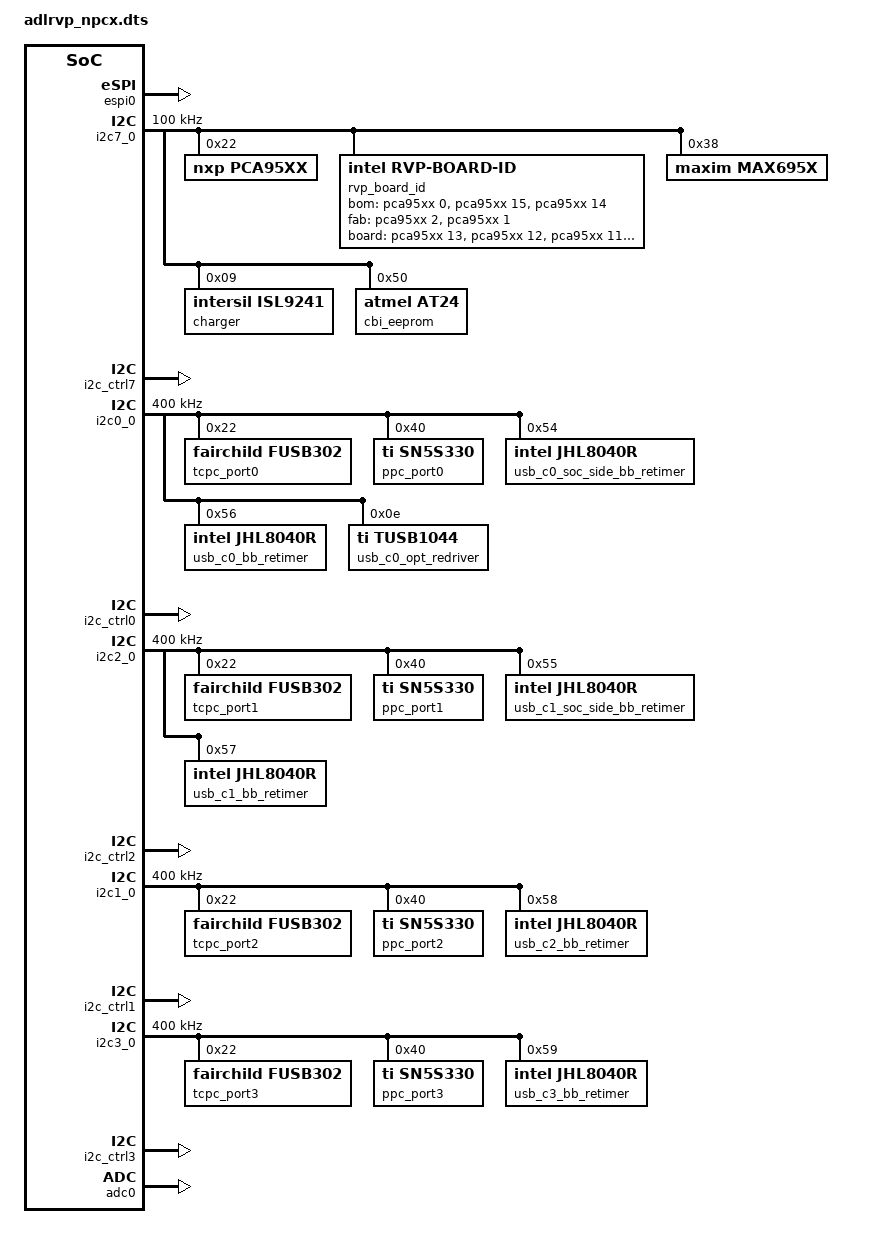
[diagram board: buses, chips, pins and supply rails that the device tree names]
/* Copyright 2022 The ChromiumOS Authors
 * Use of this source code is governed by a BSD-style license that can be
 * found in the LICENSE file.
 */

/ {
	chosen {
		cros,rtc = &mtc;
	};

	hibernate-wake-pins {
		compatible = "cros-ec,hibernate-wake-pins";
		wakeup-irqs = <
			&int_ac_present
			&int_lid_open
			&int_power_button
		>;
	};

	named-i2c-ports {
		compatible = "named-i2c-ports";

		i2c_charger: charger {
			i2c-port = <&i2c7_0>;
			enum-names = "I2C_PORT_BATTERY",
				"I2C_PORT_CHARGER",
				"I2C_PORT_EEPROM",
				"I2C_PORT_PORT80";
		};
		typec_0: typec-0 {
			i2c-port = <&i2c0_0>;
			enum-names = "I2C_PORT_TYPEC_0";
		};
		typec_1: typec-1 {
			i2c-port = <&i2c2_0>;
			enum-names = "I2C_PORT_TYPEC_1";
		};
		typec_2: typec-2 {
			i2c-port = <&i2c1_0>;
			enum-names = "I2C_PORT_TYPEC_2";
		};
		typec_3: typec-3 {
			i2c-port = <&i2c3_0>;
			enum-names = "I2C_PORT_TYPEC_3";
		};
	};

	named-adc-channels {
		compatible = "named-adc-channels";

		adc_ambient: ambient {
			enum-name = "ADC_TEMP_SENSOR_1";
			io-channels = <&adc0 3>;
		};
		adc_ddr: ddr {
			enum-name = "ADC_TEMP_SENSOR_2";
			io-channels = <&adc0 4>;
		};
		adc_skin: skin {
			enum-name = "ADC_TEMP_SENSOR_3";
			io-channels = <&adc0 2>;
		};
		adc_vr: vr {
			enum-name = "ADC_TEMP_SENSOR_4";
			io-channels = <&adc0 1>;
		};
	};

};

/* host interface */
&espi0 {
	status = "okay";
	pinctrl-0 = <&espi_lpc_gp46_47_51_52_53_54_55_57>;
	pinctrl-names = "default";
};

/* charger */
&i2c7_0 {
	status = "okay";
	clock-frequency = <I2C_BITRATE_STANDARD>;
	pinctrl-0 = <&i2c7_0_sda_scl_gpb2_b3>;
	pinctrl-names = "default";

	pca95xx: pca95xx@22 {
		compatible = "nxp,pca95xx";
		label = "PCA95XX";
		reg = <0x22>;
		gpio-controller;
		#gpio-cells = <2>;
		ngpios = <16>;
	};

	rvp_board_id: rvp-board-id {
		compatible = "intel,rvp-board-id";

		/*
		 * BOM ID [2]   : IOEX[0]
		 * BOM ID [1:0] : IOEX[15:14]
		 */
		bom-gpios = <&pca95xx 0 0>, <&pca95xx 15 0>, <&pca95xx 14 0>;

		/*
		 * FAB ID [1:0] : IOEX[2:1]
		 */
		fab-gpios = <&pca95xx 2 0>, <&pca95xx 1 0>;

		/*
		 * BOARD ID[5:0] : IOEX[13:8]
		 */
		board-gpios = <&pca95xx 13 0>, <&pca95xx 12 0>, <&pca95xx 11 0>,
			      <&pca95xx 10 0>, <&pca95xx 9 0>, <&pca95xx 8 0>;
	};

	max695x@38 {
		compatible = "maxim,max695x";
		reg = <0x38>;
	};

	charger: isl9241@9 {
		compatible = "intersil,isl9241";
		status = "okay";
		reg = <0x9>;
	};

	cbi_eeprom: eeprom@50 {
		compatible = "atmel,at24";
		reg = <0x50>;
		size = <2048>;
		pagesize = <16>;
		address-width = <8>;
		timeout = <5>;
	};
};

&i2c_ctrl7 {
	status = "okay";
};

/* typec_0 */
&i2c0_0 {
	status = "okay";
	clock-frequency = <I2C_BITRATE_FAST>;
	pinctrl-0 = <&i2c0_0_sda_scl_gpb4_b5>;
	pinctrl-names = "default";

	tcpc_port0: fusb302@22 {
		compatible = "fairchild,fusb302";
		reg = <0x22>;
		int-pin = <&usbc_tcpc_alrt_p0>;
	};

	ppc_port0: sn5s330@40 {
		compatible = "ti,sn5s330";
		status = "okay";
		reg = <0x40>;
	};

	usb_c0_soc_side_bb_retimer: jhl8040r-c0-soc-side@54 {
		compatible = "intel,jhl8040r";
		reg = <0x54>;
		reset-pin = <&usb_c0_bb_retimer_rst>;
		ls-en-pin = <&usb_c0_bb_retimer_ls_en>;
	};

	usb_c0_bb_retimer: jhl8040r-c0@56 {
		compatible = "intel,jhl8040r";
		reg = <0x56>;
		reset-pin = <&usb_c0_bb_retimer_rst>;
		ls-en-pin = <&usb_c0_bb_retimer_ls_en>;
	};

	usb_c0_opt_redriver: tusb1044_mux_c0@0e {
		compatible = "ti,tusb1044";
		status = "okay";
		reg = <0x0e>;
	};
};

&i2c_ctrl0 {
	status = "okay";
};

/* typec_1 */
&i2c2_0 {
	status = "okay";
	clock-frequency = <I2C_BITRATE_FAST>;
	pinctrl-0 = <&i2c2_0_sda_scl_gp91_92>;
	pinctrl-names = "default";

	tcpc_port1: fusb302@22 {
		compatible = "fairchild,fusb302";
		reg = <0x22>;
		int-pin = <&usbc_tcpc_alrt_p1>;
	};

	ppc_port1: sn5s330@40 {
		compatible = "ti,sn5s330";
		status = "okay";
		reg = <0x40>;
	};

	usb_c1_soc_side_bb_retimer: jhl8040r-c1-soc-side@55 {
		compatible = "intel,jhl8040r";
		reg = <0x55>;
		reset-pin = <&usb_c1_bb_retimer_rst>;
		ls-en-pin = <&usb_c1_bb_retimer_ls_en>;
	};

	usb_c1_bb_retimer: jhl8040r-c1@57 {
		compatible = "intel,jhl8040r";
		reg = <0x57>;
		reset-pin = <&usb_c1_bb_retimer_rst>;
		ls-en-pin = <&usb_c1_bb_retimer_ls_en>;
	};
};

&i2c_ctrl2 {
	status = "okay";
};

/* typec_2 */
&i2c1_0 {
	status = "okay";
	clock-frequency = <I2C_BITRATE_FAST>;
	pinctrl-0 = <&i2c1_0_sda_scl_gp87_90>;
	pinctrl-names = "default";

	tcpc_port2: fusb302@22 {
		compatible = "fairchild,fusb302";
		reg = <0x22>;
		int-pin = <&usbc_tcpc_alrt_p2>;
	};

	ppc_port2: sn5s330@40 {
		compatible = "ti,sn5s330";
		status = "okay";
		reg = <0x40>;
	};

	usb_c2_bb_retimer: jhl8040r-c2@58 {
		compatible = "intel,jhl8040r";
		reg = <0x58>;
		reset-pin = <&usb_c2_bb_retimer_rst>;
		ls-en-pin = <&usb_c2_bb_retimer_ls_en>;
	};
};

&i2c_ctrl1 {
	status = "okay";
};

/* typec_3 */
&i2c3_0 {
	status = "okay";
	clock-frequency = <I2C_BITRATE_FAST>;
	pinctrl-0 = <&i2c3_0_sda_scl_gpd0_d1>;
	pinctrl-names = "default";

	tcpc_port3: fusb302@22 {
		compatible = "fairchild,fusb302";
		reg = <0x22>;
		int-pin = <&usbc_tcpc_alrt_p3>;
	};

	ppc_port3: sn5s330@40 {
		compatible = "ti,sn5s330";
		status = "okay";
		reg = <0x40>;
	};

	usb_c3_bb_retimer: jhl8040r-c3@59 {
		compatible = "intel,jhl8040r";
		reg = <0x59>;
		reset-pin = <&usb_c3_bb_retimer_rst>;
		ls-en-pin = <&usb_c3_bb_retimer_ls_en>;
	};
};

&i2c_ctrl3 {
	status = "okay";
};

&adc0 {
	status = "okay";
	pinctrl-0 = <&adc0_chan1_gp44
		     &adc0_chan2_gp43
		     &adc0_chan3_gp42
		     &adc0_chan4_gp41>;
	pinctrl-names = "default";
};
